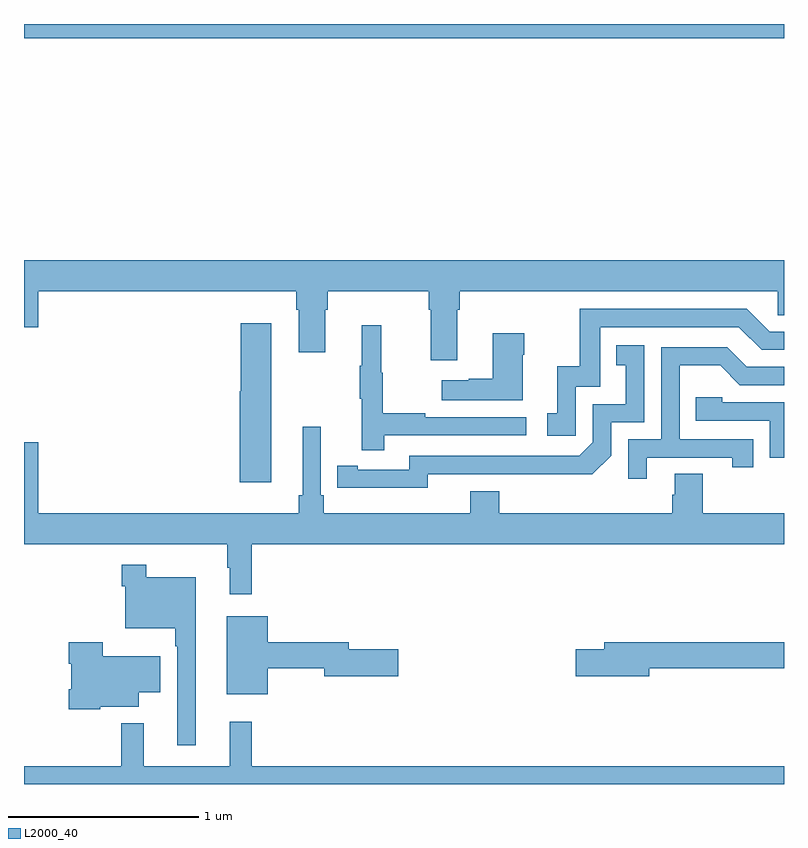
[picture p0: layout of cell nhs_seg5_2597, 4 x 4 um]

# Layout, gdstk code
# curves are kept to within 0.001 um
import gdstk
lib = gdstk.Library(unit=1e-6, precision=1e-09)
def R(c, l, rs):  # rectangles x0, y0, x1, y1
    for r in rs: c.add(gdstk.rectangle(r[:2], r[2:], *l))
def P(c, l, *ps):  # polygons
    for p in ps: c.add(gdstk.Polygon(p, *l))
L2000_40 = (2000, 40)

nhs_seg5_2597 = lib.new_cell('nhs_seg5_2597')
R(nhs_seg5_2597, L2000_40, [(261,892.724,265,892.799)])
P(nhs_seg5_2597, L2000_40, [(263.281,891.296),(263.294,891.296),(263.294,891.392),(264.966,891.392),(264.966,891.265),(265,891.265),(265,891.556),(261,891.556),(261,891.204),(261.076,891.204),(261.076,891.392),(262.433,891.392),(262.433,891.296),(262.445,891.296),(262.445,891.072),(262.585,891.072),(262.585,891.296),(262.598,891.296),(262.598,891.392),(263.129,891.392),(263.129,891.296),(263.141,891.296),(263.141,891.03),(263.281,891.03)],
  [(263.904,890.889),(264.033,890.889),(264.033,891.204),(264.762,891.204),(264.882,891.084),(265,891.084),(265,891.18),(264.924,891.18),(264.804,891.3),(263.925,891.3),(263.925,890.998),(263.807,890.998),(263.807,890.751),(263.754,890.751),(263.754,890.631),(263.904,890.631)],
  [(262.3,891.223),(262.142,891.223),(262.142,890.865),(262.136,890.865),(262.136,890.388),(262.3,890.388)],
  [(262.895,890.634),(263.644,890.634),(263.644,890.73),(263.111,890.73),(263.111,890.75),(262.888,890.75),(262.888,890.964),(262.88,890.964),(262.88,891.214),(262.778,891.214),(262.778,891.001),(262.767,891.001),(262.767,890.827),(262.778,890.827),(262.778,890.556),(262.895,890.556)],
  [(263.626,891.059),(263.634,891.059),(263.634,891.172),(263.468,891.172),(263.468,890.933),(263.342,890.933),(263.342,890.923),(263.199,890.923),(263.199,890.819),(263.626,890.819)],
  [(263.124,890.43),(263.992,890.429),(264.09,890.526),(264.09,890.703),(264.264,890.703),(264.264,891.109),(264.118,891.109),(264.118,891.003),(264.167,891.003),(264.167,890.799),(263.994,890.799),(263.994,890.598),(263.922,890.526),(263.028,890.526),(263.028,890.454),(262.756,890.454),(262.756,890.474),(262.648,890.474),(262.648,890.358),(263.124,890.357)],
  [(264.277,890.517),(264.728,890.517),(264.728,890.466),(264.839,890.466),(264.839,890.613),(264.45,890.613),(264.45,891.002),(264.664,891.002),(264.768,890.898),(265,890.898),(265,890.994),(264.805,890.994),(264.7,891.099),(264.354,891.099),(264.354,890.613),(264.18,890.613),(264.18,890.406),(264.277,890.406)],
  [(265,890.808),(264.675,890.808),(264.675,890.835),(264.535,890.835),(264.535,890.712),(264.924,890.712),(264.924,890.517),(265,890.517)],
  [(262.199,890.06),(265,890.06),(265,890.224),(264.573,890.224),(264.573,890.432),(264.425,890.432),(264.425,890.322),(264.413,890.322),(264.413,890.224),(263.501,890.224),(263.501,890.341),(263.348,890.341),(263.348,890.224),(262.577,890.224),(262.577,890.32),(262.563,890.32),(262.563,890.68),(262.466,890.68),(262.466,890.32),(262.447,890.32),(262.447,890.224),(261.076,890.224),(261.076,890.599),(261,890.599),(261,890.06),(262.071,890.06),(262.071,889.937),(262.082,889.937),(262.082,889.797),(262.199,889.797)],
  [(261.904,889.888),(261.643,889.888),(261.643,889.954),(261.514,889.954),(261.514,889.841),(261.534,889.841),(261.534,889.619),(261.795,889.619),(261.795,889.523),(261.807,889.523),(261.807,889.002),(261.904,889.002)],
  [(262.282,889.408),(262.58,889.408),(262.58,889.366),(262.969,889.366),(262.969,889.508),(262.708,889.508),(262.708,889.544),(262.282,889.544),(262.282,889.681),(262.067,889.681),(262.067,889.271),(262.282,889.271)],
  [(261.402,889.205),(261.604,889.205),(261.604,889.283),(261.718,889.283),(261.718,889.471),(261.414,889.471),(261.414,889.546),(261.236,889.546),(261.236,889.433),(261.248,889.433),(261.248,889.297),(261.236,889.297),(261.236,889.193),(261.402,889.193)],
  [(264.292,889.408),(265,889.408),(265,889.544),(264.053,889.544),(264.053,889.508),(263.904,889.508),(263.904,889.366),(264.292,889.366)],
  [(265,888.892),(262.199,888.892),(262.199,889.126),(262.082,889.126),(262.082,888.892),(261.629,888.892),(261.629,889.12),(261.511,889.12),(261.511,888.892),(261,888.892),(261,888.799),(265,888.799)])

lib.write_gds('nhs_seg5_2597.gds')
